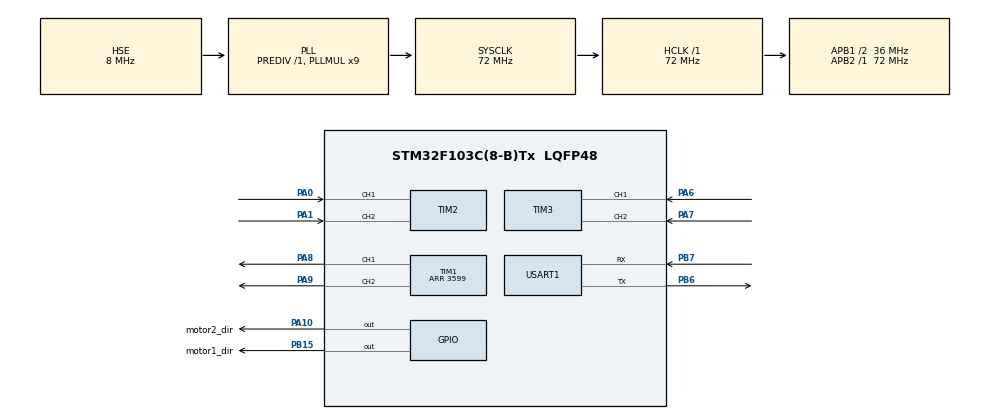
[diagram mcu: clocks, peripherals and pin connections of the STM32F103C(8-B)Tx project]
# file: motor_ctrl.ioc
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Dma.Request0=USART1_RX
Dma.Request1=USART1_TX
Dma.USART1_RX.0.Direction=DMA_PERIPH_TO_MEMORY
Dma.USART1_RX.0.Instance=DMA1_Channel5
Dma.USART1_RX.0.MemDataAlignment=DMA_MDATAALIGN_BYTE
Dma.USART1_RX.0.MemInc=DMA_MINC_ENABLE
Dma.USART1_RX.0.Mode=DMA_NORMAL
Dma.USART1_RX.0.PeriphDataAlignment=DMA_PDATAALIGN_BYTE
Dma.USART1_RX.0.PeriphInc=DMA_PINC_DISABLE
Dma.USART1_RX.0.Priority=DMA_PRIORITY_LOW
Dma.USART1_TX.1.Direction=DMA_MEMORY_TO_PERIPH
Dma.USART1_TX.1.Instance=DMA1_Channel4
Dma.USART1_TX.1.MemDataAlignment=DMA_MDATAALIGN_BYTE
Dma.USART1_TX.1.MemInc=DMA_MINC_ENABLE
Dma.USART1_TX.1.Mode=DMA_NORMAL
Dma.USART1_TX.1.PeriphDataAlignment=DMA_PDATAALIGN_BYTE
Dma.USART1_TX.1.PeriphInc=DMA_PINC_DISABLE
Dma.USART1_TX.1.Priority=DMA_PRIORITY_LOW
Mcu.Family=STM32F1
Mcu.Name=STM32F103C(8-B)Tx
Mcu.Package=LQFP48
NVIC.DMA1_Channel4_IRQn=true\:0\:0\:false\:false\:true\:false\:true\:true
NVIC.DMA1_Channel5_IRQn=true\:0\:0\:false\:false\:true\:false\:true\:true
NVIC.PriorityGroup=NVIC_PRIORITYGROUP_4
NVIC.TIM4_IRQn=true\:0\:0\:false\:false\:true\:true\:true\:true
NVIC.USART1_IRQn=true\:0\:0\:false\:false\:true\:true\:true\:true
PA0-WKUP.Signal=S_TIM2_CH1_ETR
PA1.Signal=S_TIM2_CH2
PA10.GPIO_Label=motor2_dir
PA10.Signal=GPIO_Output
PA13.Mode=Serial_Wire
PA13.Signal=SYS_JTMS-SWDIO
PA14.Mode=Serial_Wire
PA14.Signal=SYS_JTCK-SWCLK
PA6.Signal=S_TIM3_CH1
PA7.Signal=S_TIM3_CH2
PA8.Signal=S_TIM1_CH1
PA9.Signal=S_TIM1_CH2
PB15.GPIO_Label=motor1_dir
PB15.Signal=GPIO_Output
PB6.Mode=Asynchronous
PB6.Signal=USART1_TX
PB7.Mode=Asynchronous
PB7.Signal=USART1_RX
PD0-OSC_IN.Mode=HSE-External-Oscillator
PD0-OSC_IN.Signal=RCC_OSC_IN
PD1-OSC_OUT.Mode=HSE-External-Oscillator
PD1-OSC_OUT.Signal=RCC_OSC_OUT
ProjectManager.HeapSize=0x200
ProjectManager.StackSize=0x400
ProjectManager.TargetToolchain=MDK-ARM V5.32
RCC.AHBFreq_Value=72000000
RCC.APB1CLKDivider=RCC_HCLK_DIV2
RCC.APB1Freq_Value=36000000
RCC.APB1TimFreq_Value=72000000
RCC.APB2Freq_Value=72000000
RCC.APB2TimFreq_Value=72000000
RCC.HCLKFreq_Value=72000000
RCC.PLLMUL=RCC_PLL_MUL9
RCC.PLLSourceVirtual=RCC_PLLSOURCE_HSE
RCC.SYSCLKFreq_VALUE=72000000
RCC.SYSCLKSource=RCC_SYSCLKSOURCE_PLLCLK
RCC.USBFreq_Value=72000000
SH.S_TIM1_CH1.0=TIM1_CH1,PWM Generation1 CH1
SH.S_TIM1_CH2.0=TIM1_CH2,PWM Generation2 CH2
SH.S_TIM2_CH1_ETR.0=TIM2_CH1,Encoder_Interface
SH.S_TIM2_CH2.0=TIM2_CH2,Encoder_Interface
SH.S_TIM3_CH1.0=TIM3_CH1,Encoder_Interface
SH.S_TIM3_CH2.0=TIM3_CH2,Encoder_Interface
TIM1.Channel-PWM\ Generation1\ CH1=TIM_CHANNEL_1
TIM1.Channel-PWM\ Generation2\ CH2=TIM_CHANNEL_2
TIM1.Period=3599
TIM3.IC1Filter=10
TIM3.IC2Filter=10
TIM4.AutoReloadPreload=TIM_AUTORELOAD_PRELOAD_ENABLE
TIM4.Period=4999
TIM4.Prescaler=71
USART1.VirtualMode=VM_ASYNC
VP_TIM4_VS_ClockSourceINT.Mode=Internal
board=custom

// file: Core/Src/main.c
/* USER CODE BEGIN Header */
/**
  ******************************************************************************
  * @file           : main.c
  * @brief          : Main program body
  ******************************************************************************
  * @attention
  *
  * Copyright (c) 2026 STMicroelectronics.
  * All rights reserved.
  *
  * This software is licensed under terms that can be found in the LICENSE file
  * in the root directory of this software component.
  * If no LICENSE file comes with this software, it is provided AS-IS.
  *
  ******************************************************************************
  */
/* USER CODE END Header */
#include "main.h"
#include "dma.h"
#include "tim.h"
#include "usart.h"
#include "gpio.h"

/* USER CODE BEGIN Includes */
#include "motor.h"
#include "pid.h"
#include <stdio.h>
#include <string.h>
/* USER CODE END Includes */

/* USER CODE BEGIN PD */
#define ENCODER_CPR               2800.0f
#define RX_BUFFER_SIZE            64U
#define Z_AXIS_ENCODER_SIGN       (-1)
#define AUTO_HOME_ON_BOOT         1U

#define STATUS_SEND_PERIOD_MS     20U
#define DATA_PROCESS_PERIOD_MS    15U

#define SPEED_KP_INIT             10.0f
#define SPEED_KI_INIT             1.2f
#define SPEED_KD_INIT             0.0f
#define SPEED_MAX_PWM             3599
#define SPEED_MAX_INTEGRAL        2500
#define SPEED_TARGET_LIMIT        230.0f

#define POSITION_KP_INIT          0.08f
#define POSITION_KI_INIT          0.0f
#define POSITION_KD_INIT          0.0f
#define POSITION_MAX_SPEED        130
#define POSITION_MAX_INTEGRAL     0
#define POSITION_TARGET_LIMIT_DEG 3600.0f
#define POSITION_DEADBAND_COUNT   4
#define SPEED_STOP_DEADBAND_COUNT 2

#define DEFAULT_TARGET_ANGLE_DEG  180.0f

/* USER CODE END PD */

/* USER CODE BEGIN PV */
uint32_t uart_dma_tick = 0;
uint32_t data_process_tick = 0;

char tx_buffer[96];
uint8_t rx_buffer[RX_BUFFER_SIZE];
volatile uint16_t uart_rx_length = 0;
volatile uint8_t uart_rx_frame_ready = 0;
char safe_buffer[RX_BUFFER_SIZE];
/* USER CODE END PV */

void SystemClock_Config(void);
/* USER CODE BEGIN PFP */
void DataProcess_Task(void);
void PID_Clear(void);
static int32_t AngleToEncoderCount(float angle_deg);
static float EncoderCountToAngle(int32_t encoder_count);
static float ClampFloat(float value, float min_value, float max_value);
static int32_t AbsI32(int32_t value);
static void UART_StartReceiveToIdle(void);
/* USER CODE END PFP */

int main(void)
{

    /* MCU Configuration--------------------------------------------------------*/

    /* Reset of all peripherals, Initializes the Flash interface and the Systick. */
    HAL_Init();

    /* Configure the system clock */
    SystemClock_Config();

    /* Initialize all configured peripherals */
    MX_GPIO_Init();
    MX_DMA_Init();
    MX_TIM1_Init();
    MX_TIM2_Init();
    MX_TIM3_Init();
    MX_TIM4_Init();
    MX_USART1_UART_Init();
    /* USER CODE BEGIN 2 */
    Speed_PID_Init(&z_motor.speed_pid,
                   SPEED_KP_INIT,
                   SPEED_KI_INIT,
                   SPEED_KD_INIT,
                   SPEED_MAX_PWM,
                   SPEED_MAX_INTEGRAL);
    Position_PID_Init(&z_motor.position_pid,
                      POSITION_KP_INIT,
                      POSITION_KI_INIT,
                      POSITION_KD_INIT,
                      POSITION_MAX_SPEED,
                      POSITION_MAX_INTEGRAL);

    HAL_TIM_Encoder_Start(&htim3, TIM_CHANNEL_ALL);
    HAL_TIM_Base_Start_IT(&htim4);
    motor_init(Right_Motor);

#if AUTO_HOME_ON_BOOT
    motor_home(Right_Motor);
#endif

    z_motor.target_angle_deg = DEFAULT_TARGET_ANGLE_DEG;
    z_motor.position_pid.target = AngleToEncoderCount(z_motor.target_angle_deg);
#if AUTO_HOME_ON_BOOT
    if (z_motor.z_homed != 0)
    {
        z_motor.position_loop_enable = 1;
        z_motor.speed_loop_enable = 1;
    }
#endif
    UART_StartReceiveToIdle();
    /* USER CODE END 2 */

    /* Infinite loop */
    /* USER CODE BEGIN WHILE */
    while (1)
    {
        if (HAL_GetTick() - uart_dma_tick >= STATUS_SEND_PERIOD_MS)
        {
            uart_dma_tick = HAL_GetTick();

            if (huart1.gState == HAL_UART_STATE_READY)
            {
                int tx_len;
                int32_t speed_feedback;
                int32_t speed_target;
                float speed_rps;
                float current_angle_deg;
                float target_angle_deg;

                __disable_irq();
                speed_feedback = z_motor.speed_pid.feedback;
                speed_target = z_motor.speed_pid.target;
                speed_rps = z_motor.speed_rps;
                current_angle_deg = z_motor.current_angle_deg;
                target_angle_deg = z_motor.target_angle_deg;
                __enable_irq();

                tx_len = snprintf(tx_buffer, sizeof(tx_buffer), "pid:%ld,%ld,%.2f,%.2f,%.2f\n",
                                  (long)speed_feedback,
                                  (long)speed_target,
                                  speed_rps,
                                  current_angle_deg,
                                  target_angle_deg);
                if (tx_len > 0)
                {
                    if (tx_len >= (int)sizeof(tx_buffer))
                    {
                        tx_len = sizeof(tx_buffer) - 1;
                    }
                    HAL_UART_Transmit_DMA(&huart1, (uint8_t *)tx_buffer, (uint16_t)tx_len);
                }
            }
        }

        if (HAL_GetTick() - data_process_tick >= DATA_PROCESS_PERIOD_MS)
        {
            data_process_tick = HAL_GetTick();
            DataProcess_Task();
        }
        /* USER CODE END WHILE */

    }
}

void SystemClock_Config(void)
{
    RCC_OscInitTypeDef RCC_OscInitStruct = {0};
    RCC_ClkInitTypeDef RCC_ClkInitStruct = {0};

    /** Initializes the RCC Oscillators according to the specified parameters
    * in the RCC_OscInitTypeDef structure.
    */
    RCC_OscInitStruct.OscillatorType = RCC_OSCILLATORTYPE_HSE;
    RCC_OscInitStruct.HSEState = RCC_HSE_ON;
    RCC_OscInitStruct.HSEPredivValue = RCC_HSE_PREDIV_DIV1;
    RCC_OscInitStruct.HSIState = RCC_HSI_ON;
    RCC_OscInitStruct.PLL.PLLState = RCC_PLL_ON;
    RCC_OscInitStruct.PLL.PLLSource = RCC_PLLSOURCE_HSE;
    RCC_OscInitStruct.PLL.PLLMUL = RCC_PLL_MUL9;
    if (HAL_RCC_OscConfig(&RCC_OscInitStruct) != HAL_OK)
    {
        Error_Handler();
    }

    /** Initializes the CPU, AHB and APB buses clocks
    */
    RCC_ClkInitStruct.ClockType = RCC_CLOCKTYPE_HCLK|RCC_CLOCKTYPE_SYSCLK
                                  |RCC_CLOCKTYPE_PCLK1|RCC_CLOCKTYPE_PCLK2;
    RCC_ClkInitStruct.SYSCLKSource = RCC_SYSCLKSOURCE_PLLCLK;
    RCC_ClkInitStruct.AHBCLKDivider = RCC_SYSCLK_DIV1;
    RCC_ClkInitStruct.APB1CLKDivider = RCC_HCLK_DIV2;
    RCC_ClkInitStruct.APB2CLKDivider = RCC_HCLK_DIV1;

    if (HAL_RCC_ClockConfig(&RCC_ClkInitStruct, FLASH_LATENCY_2) != HAL_OK)
    {
        Error_Handler();
    }
}

/* USER CODE BEGIN 4 */
void HAL_TIM_PeriodElapsedCallback(TIM_HandleTypeDef *htim)
{
    if (htim->Instance != TIM4)
    {
        return;
    }

    z_motor.encoder_delta = (int16_t)__HAL_TIM_GET_COUNTER(&htim3);
    z_motor.speed_pid.feedback = z_motor.encoder_delta;
    z_motor.speed_rps = (float)z_motor.encoder_delta / 5.0f / ENCODER_CPR * 1000.0f;
    z_motor.encoder_total += z_motor.encoder_delta;

    __HAL_TIM_SET_COUNTER(&htim3, 0);
    z_motor.position_pid.feedback = z_motor.encoder_total;
    z_motor.current_angle_deg = EncoderCountToAngle(z_motor.position_pid.feedback);

    if (z_motor.speed_loop_enable == 0)
    {
        return;
    }

    if (z_motor.position_loop_enable != 0)
    {
        int32_t position_error = z_motor.position_pid.target - z_motor.position_pid.feedback;

        if (AbsI32(position_error) <= POSITION_DEADBAND_COUNT)
        {
            z_motor.position_pid.integral = 0;
            z_motor.position_pid.last_err = 0;
            z_motor.speed_pid.target = 0;
            z_motor.speed_pid.integral = 0;

            if (AbsI32(z_motor.speed_pid.feedback) <= SPEED_STOP_DEADBAND_COUNT)
            {
                z_motor.speed_pid.output = 0;
                z_motor.pwm = 0;
                motor_ctrl(Right_Motor, DIR_FORWARD, 0);
                return;
            }
        }
        else
        {
            z_motor.speed_pid.target = Position_PID_Calc(&z_motor.position_pid);
        }
    }

    z_motor.pwm = Speed_PID_Calc(&z_motor.speed_pid);

    if (z_motor.pwm >= 0)
    {
        motor_ctrl(Right_Motor, DIR_FORWARD, z_motor.pwm);
    }
    else
    {
        motor_ctrl(Right_Motor, DIR_BACKWARD, -z_motor.pwm);
    }
}

void PID_Clear(void)
{
    z_motor.position_pid.target = 0;
    z_motor.position_pid.feedback = 0;
    z_motor.position_pid.err = 0;
    z_motor.position_pid.last_err = 0;
    z_motor.position_pid.integral = 0;
    z_motor.position_pid.output = 0;

    z_motor.speed_pid.target = 0;
    z_motor.speed_pid.feedback = 0;
    z_motor.speed_pid.err = 0;
    z_motor.speed_pid.last_err = 0;
    z_motor.speed_pid.integral = 0;
    z_motor.speed_pid.output = 0;

    z_motor.pwm = 0;
}

static int32_t AngleToEncoderCount(float angle_deg)
{
    return (int32_t)(angle_deg / 360.0f * ENCODER_CPR * (float)Z_AXIS_ENCODER_SIGN);
}

static float EncoderCountToAngle(int32_t encoder_count)
{
    return (float)encoder_count / ENCODER_CPR * 360.0f * (float)Z_AXIS_ENCODER_SIGN;
}

static float ClampFloat(float value, float min_value, float max_value)
{
    if (value < min_value)
    {
        return min_value;
    }
    if (value > max_value)
    {
        return max_value;
    }
    return value;
}

static int32_t AbsI32(int32_t value)
{
    return (value < 0) ? -value : value;
}

static void UART_StartReceiveToIdle(void)
{
    if (HAL_UARTEx_ReceiveToIdle_DMA(&huart1, rx_buffer, RX_BUFFER_SIZE) == HAL_OK)
    {
        __HAL_DMA_DISABLE_IT(huart1.hdmarx, DMA_IT_HT);
    }
}

void DataProcess_Task(void)
{
    float target = 0.0f;
    char parse_buffer[RX_BUFFER_SIZE];
    uint16_t rx_length;

    if (uart_rx_frame_ready == 0)
    {
        return;
    }

    __disable_irq();
    rx_length = uart_rx_length;
    if (rx_length >= RX_BUFFER_SIZE)
    {
        rx_length = RX_BUFFER_SIZE - 1;
    }
    memcpy(parse_buffer, safe_buffer, rx_length);
    parse_buffer[rx_length] = '\0';
    uart_rx_frame_ready = 0;
    __enable_irq();

    switch (parse_buffer[0])
    {
        case 'T':
            if (sscanf(parse_buffer, "T_speed:%f", &target) == 1)
            {
                target = ClampFloat(target, -SPEED_TARGET_LIMIT, SPEED_TARGET_LIMIT);
                __disable_irq();
                z_motor.position_loop_enable = 0;
                z_motor.speed_loop_enable = 1;
                z_motor.speed_pid.target = (int32_t)target;
                z_motor.speed_pid.integral = 0;
                z_motor.speed_pid.last_err = 0;
                __enable_irq();
            }
            break;

        case 'P':
            if (sscanf(parse_buffer, "P_speed:%f", &target) == 1)
            {
                __disable_irq();
                z_motor.speed_pid.Kp = target;
                z_motor.speed_pid.integral = 0;
                __enable_irq();
            }
            else if (sscanf(parse_buffer, "P_position:%f", &target) == 1)
            {
                __disable_irq();
                z_motor.position_pid.Kp = target;
                z_motor.position_pid.integral = 0;
                __enable_irq();
            }
            break;

        case 'I':
            if (sscanf(parse_buffer, "I_speed:%f", &target) == 1)
            {
                __disable_irq();
                z_motor.speed_pid.Ki = target;
                z_motor.speed_pid.integral = 0;
                __enable_irq();
            }
            else if (sscanf(parse_buffer, "I_position:%f", &target) == 1)
            {
                __disable_irq();
                z_motor.position_pid.Ki = target;
                z_motor.position_pid.integral = 0;
                __enable_irq();
            }
            break;

        case 'D':
            if (sscanf(parse_buffer, "D_speed:%f", &target) == 1)
            {
                __disable_irq();
                z_motor.speed_pid.Kd = target;
                z_motor.speed_pid.integral = 0;
                __enable_irq();
            }
            else if (sscanf(parse_buffer, "D_position:%f", &target) == 1)
            {
                __disable_irq();
                z_motor.position_pid.Kd = target;
                z_motor.position_pid.integral = 0;
                __enable_irq();
            }
            break;

        case 'A':
            if (sscanf(parse_buffer, "A_position:%f", &target) == 1)
            {
                target = ClampFloat(target, -POSITION_TARGET_LIMIT_DEG, POSITION_TARGET_LIMIT_DEG);
                __disable_irq();
                z_motor.position_loop_enable = 1;
                z_motor.speed_loop_enable = 1;
                z_motor.target_angle_deg = target;
                z_motor.position_pid.target = AngleToEncoderCount(z_motor.target_angle_deg);
                z_motor.position_pid.integral = 0;
                z_motor.position_pid.last_err = 0;
                z_motor.speed_pid.integral = 0;
                z_motor.speed_pid.last_err = 0;
                __enable_irq();
            }
            break;

        case 'M':
            if (sscanf(parse_buffer, "M_speed:%f", &target) == 1)
            {
                target = ClampFloat(target, 0.0f, (float)MOTOR_PWM_MAX);
                __disable_irq();
                z_motor.speed_pid.max_output = (int32_t)target;
                z_motor.speed_pid.integral = 0;
                __enable_irq();
            }
            else if (sscanf(parse_buffer, "M_position:%f", &target) == 1)
            {
                target = ClampFloat(target, 0.0f, SPEED_TARGET_LIMIT);
                __disable_irq();
                z_motor.position_pid.max_output = (int32_t)target;
                z_motor.position_pid.integral = 0;
                z_motor.speed_pid.integral = 0;
                __enable_irq();
            }
            break;

        case 'S':
            if (strcmp(parse_buffer, "S_stop") == 0)
            {
                __disable_irq();
                z_motor.position_loop_enable = 0;
                z_motor.speed_loop_enable = 0;
                PID_Clear();
                __enable_irq();
                motor_ctrl(Right_Motor, DIR_FORWARD, 0);
            }
            break;

        case 'Z':
            if (strcmp(parse_buffer, "Z_home") == 0)
            {
                motor_home(Right_Motor);
            }
            break;

        default:
            break;
    }
}

void HAL_UARTEx_RxEventCallback(UART_HandleTypeDef *huart, uint16_t Size)
{
    if (huart != &huart1)
    {
        return;
    }

    if (Size >= RX_BUFFER_SIZE)
    {
        Size = RX_BUFFER_SIZE - 1;
    }

    if (uart_rx_frame_ready == 0)
    {
        memcpy(safe_buffer, rx_buffer, Size);
        safe_buffer[Size] = '\0';
        uart_rx_length = Size;
        uart_rx_frame_ready = 1;
    }

    memset(rx_buffer, 0, RX_BUFFER_SIZE);
    UART_StartReceiveToIdle();
}
/* USER CODE END 4 */

void Error_Handler(void)
{
    __disable_irq();
    while (1)
    {
    }
}
